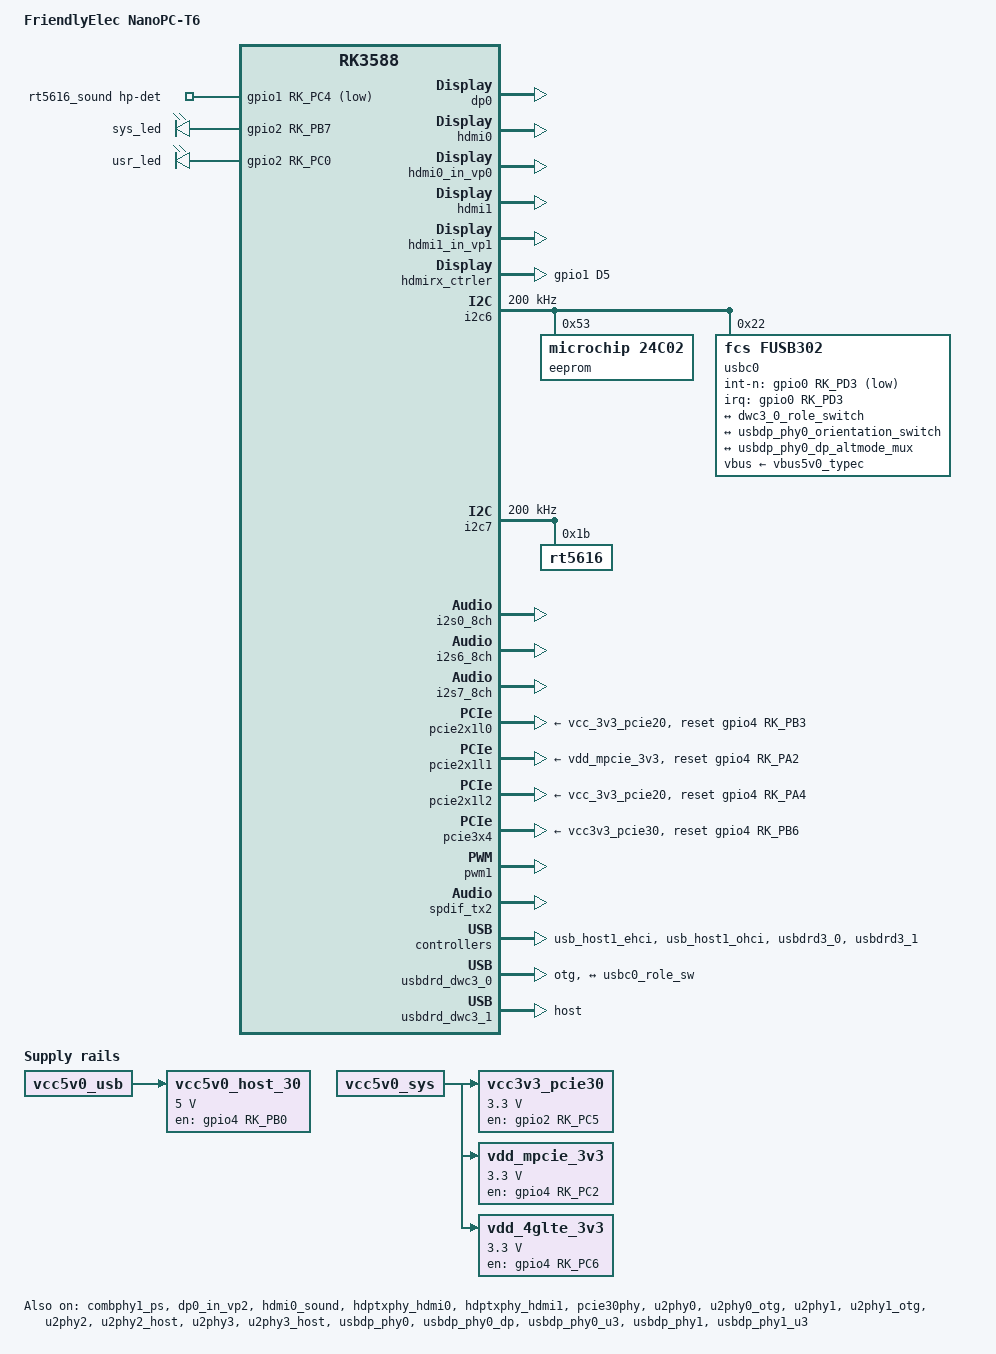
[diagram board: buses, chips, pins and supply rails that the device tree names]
// SPDX-License-Identifier: (GPL-2.0+ OR MIT)
/*
 * Copyright (c) 2022 FriendlyElec Computer Tech. Co., Ltd.
 * (http://www.friendlyelec.com)
 */

/dts-v1/;

#include "rk3588.dtsi"
#include "rk3588-nanopi6-common.dtsi"

/ {
	model = "FriendlyElec NanoPC-T6";
	compatible = "friendlyelec,nanopc-t6", "rockchip,rk3588";

	aliases {
		ethernet0 = &r8125_u10;
		ethernet1 = &r8125_u12;
		led-failsafe = &sys_led;
		led-running = &sys_led;
		led-upgrade = &sys_led;
	};

	/* If hdmirx node is disabled, delete the reserved-memory node here. */
	reserved-memory {
		#address-cells = <2>;
		#size-cells = <2>;
		ranges;

		/* Reserve 128MB memory for hdmirx-controller@fdee0000 */
		cma {
			compatible = "shared-dma-pool";
			reusable;
			reg = <0x0 (256 * 0x100000) 0x0 (128 * 0x100000)>;
			linux,cma-default;
		};
	};

	dp0_sound: dp0-sound {
		status = "okay";
		compatible = "rockchip,hdmi";
		rockchip,card-name= "rockchip,dp0";
		rockchip,mclk-fs = <512>;
		rockchip,cpu = <&spdif_tx2>;
		rockchip,codec = <&dp0 1>;
		rockchip,jack-det;
	};

	rt5616_sound: rt5616-sound {
		status = "okay";
		compatible = "simple-audio-card";
		pinctrl-names = "default";
		pinctrl-0 = <&hp_det>;

		simple-audio-card,name = "realtek,rt5616-codec";
		simple-audio-card,format = "i2s";
		simple-audio-card,mclk-fs = <256>;

		simple-audio-card,hp-det-gpio = <&gpio1 RK_PC4 GPIO_ACTIVE_LOW>;
		simple-audio-card,hp-pin-name = "Headphone Jack";

		simple-audio-card,widgets =
			"Headphone", "Headphone Jack",
			"Microphone", "Microphone Jack";
		simple-audio-card,routing =
			"Headphone Jack", "HPOL",
			"Headphone Jack", "HPOR",
			"MIC1", "Microphone Jack",
			"Microphone Jack", "micbias1";

		simple-audio-card,cpu {
			sound-dai = <&i2s0_8ch>;
		};
		simple-audio-card,codec {
			sound-dai = <&rt5616>;
		};
	};

	fan: pwm-fan {
		status = "disabled";
		compatible = "pwm-fan";
		#cooling-cells = <2>;
		pwms = <&pwm1 0 50000 0>;
		cooling-levels = <0 50 100 150 200 255>;
		rockchip,temp-trips = <
			50000	1
			55000	2
			60000	3
			65000	4
			70000	5
		>;
	};

	gpio_leds: gpio-leds {
		compatible = "gpio-leds";

		sys_led: led-0 {
			gpios = <&gpio2 RK_PB7 GPIO_ACTIVE_HIGH>;
			label = "sys_led";
			linux,default-trigger = "heartbeat";
			pinctrl-names = "default";
			pinctrl-0 = <&sys_led_pin>;
		};

		usr_led: led-1 {
			gpios = <&gpio2 RK_PC0 GPIO_ACTIVE_HIGH>;
			label = "usr_led";
			pinctrl-names = "default";
			pinctrl-0 = <&usr_led_pin>;
		};
	};

	hdmi1_sound: hdmi1-sound {
		status = "disabled";
		compatible = "simple-audio-card";
		simple-audio-card,format = "i2s";
		simple-audio-card,mclk-fs = <128>;
		simple-audio-card,name = "rockchip,hdmi1";

		simple-audio-card,cpu {
			sound-dai = <&i2s6_8ch>;
		};
		simple-audio-card,codec {
			sound-dai = <&hdmi1>;
		};
	};

	hdmiin_dc: hdmiin-dc {
		status = "disabled";
		compatible = "rockchip,dummy-codec";
		#sound-dai-cells = <0>;
	};

	hdmiin_sound: hdmiin-sound {
		status = "disabled";
		compatible = "simple-audio-card";
		simple-audio-card,format = "i2s";
		simple-audio-card,name = "rockchip,hdmiin";
		simple-audio-card,bitclock-master = <&dailink0_master>;
		simple-audio-card,frame-master = <&dailink0_master>;
		simple-audio-card,cpu {
			sound-dai = <&i2s7_8ch>;
		};
		dailink0_master: simple-audio-card,codec {
			sound-dai = <&hdmiin_dc>;
		};
	};

	vcc5v0_host_30: vcc5v0-host-30 {
		compatible = "regulator-fixed";
		enable-active-high;
		gpio = <&gpio4 RK_PB0 GPIO_ACTIVE_HIGH>;
		pinctrl-names = "default";
		pinctrl-0 = <&vcc5v0_host30_en>;
		regulator-name = "vcc5v0_host_30";
		regulator-min-microvolt = <5000000>;
		regulator-max-microvolt = <5000000>;
		vin-supply = <&vcc5v0_usb>;
	};

	vcc3v3_pcie30: vcc3v3-pcie30 {
		compatible = "regulator-fixed";
		enable-active-high;
		gpios = <&gpio2 RK_PC5 GPIO_ACTIVE_HIGH>;
		pinctrl-names = "default";
		pinctrl-0 = <&pcie_m2_0_pwren>;
		regulator-name = "vcc3v3_pcie30";
		regulator-min-microvolt = <3300000>;
		regulator-max-microvolt = <3300000>;
		vin-supply = <&vcc5v0_sys>;
	};

	vdd_mpcie_3v3: vdd-mpcie-3v3 {
		compatible = "regulator-fixed";
		enable-active-high;
		gpio = <&gpio4 RK_PC2 GPIO_ACTIVE_HIGH>;
		pinctrl-names = "default";
		pinctrl-0 = <&pcie_m2_1_pwren>;
		regulator-name = "vdd_mpcie_3v3";
		regulator-min-microvolt = <3300000>;
		regulator-max-microvolt = <3300000>;
		vin-supply = <&vcc5v0_sys>;
	};

	vdd_4glte_3v3: vdd-4glte-3v3 {
		compatible = "regulator-fixed";
		enable-active-high;
		gpio = <&gpio4 RK_PC6 GPIO_ACTIVE_HIGH>;
		regulator-always-on;
		regulator-boot-on;
		regulator-name = "vdd_4glte_3v3";
		regulator-min-microvolt = <3300000>;
		regulator-max-microvolt = <3300000>;
		startup-delay-us = <10000>;
		vin-supply = <&vcc5v0_sys>;
	};
};

&combphy1_ps {
	status = "okay";
};

&dp0 {
	status = "okay";
};

&dp0_in_vp0 {
	status = "disabled";
};

&dp0_in_vp1 {
	status = "disabled";
};

&dp0_in_vp2 {
	status = "okay";
};

&dp0_sound {
	status = "okay";
};

&gmac1 {
	status = "disabled";
};

&hdmi0 {
	enable-gpios = <&gpio4 RK_PB1 GPIO_ACTIVE_HIGH>;
	status = "okay";
};

&hdmi0_in_vp0 {
	status = "okay";
};

&hdmi0_in_vp1 {
	status = "disabled";
};

&hdmi0_in_vp2 {
	status = "disabled";
};

&hdmi0_sound {
	status = "okay";
};

&hdmi1 {
	enable-gpios = <&gpio4 RK_PB2 GPIO_ACTIVE_HIGH>;
	status = "okay";
};

&hdmi1_in_vp0 {
	status = "disabled";
};

&hdmi1_in_vp1 {
	status = "okay";
};

&hdmi1_in_vp2 {
	status = "disabled";
};

&hdmi1_sound {
	status = "okay";
};

&hdmiin_dc {
	status = "okay";
};

&hdmiin_sound {
	status = "okay";
};

/* Should work with at least 128MB cma reserved above. */
&hdmirx_ctrler {
	status = "okay";

	/* Effective level used to trigger HPD: 0-low, 1-high */
	hpd-trigger-level = <1>;
	hdmirx-det-gpios = <&gpio1 RK_PD5 GPIO_ACTIVE_LOW>;
	pinctrl-names = "default";
	pinctrl-0 = <&hdmim1_rx &hdmirx_det>;
};

&hdptxphy_hdmi0 {
	status = "okay";
};

&hdptxphy_hdmi1 {
	status = "okay";
};

&i2c3 {
	pinctrl-0 = <&i2c3m0_xfer>;
	/* connected with MIPI-CSI0 */
};

&i2c4 {
	pinctrl-0 = <&i2c4m3_xfer>;
	/* connected with MIPI-DSI1 */
};

&i2c5 {
	pinctrl-0 = <&i2c5m0_xfer>;
	/* connected with MIPI-DSI0 */
};

&i2c6 {
	clock-frequency = <200000>;
	status = "okay";

	eeprom@53 {
		compatible = "microchip,24c02", "atmel,24c02";
		reg = <0x53>;
		#address-cells = <2>;
		#size-cells = <0>;
		pagesize = <16>;
		size = <256>;

		eui_48: eui-48@fa {
			reg = <0xfa 0x06>;
		};
	};

	usbc0: fusb302@22 {
		compatible = "fcs,fusb302";
		reg = <0x22>;
		interrupt-parent = <&gpio0>;
		interrupts = <RK_PD3 IRQ_TYPE_LEVEL_LOW>;
		int-n-gpios = <&gpio0 RK_PD3 GPIO_ACTIVE_LOW>;
		pinctrl-names = "default";
		pinctrl-0 = <&usbc0_int>;
		vbus-supply = <&vbus5v0_typec>;
		status = "okay";

		ports {
			#address-cells = <1>;
			#size-cells = <0>;

			port@0 {
				reg = <0>;
				usbc0_role_sw: endpoint@0 {
					remote-endpoint = <&dwc3_0_role_switch>;
				};
			};
		};

		usb_con: connector {
			compatible = "usb-c-connector";
			label = "USB-C";
			data-role = "dual";
			power-role = "dual";
			try-power-role = "sink";
			op-sink-microwatt = <1000000>;
			sink-pdos =
				<PDO_FIXED(5000, 3000, PDO_FIXED_USB_COMM)>;
			source-pdos =
				<PDO_FIXED(5000, 2000, PDO_FIXED_USB_COMM)>;

			altmodes {
				#address-cells = <1>;
				#size-cells = <0>;

				altmode@0 {
					reg = <0>;
					svid = <0xff01>;
					vdo = <0xffffffff>;
				};
			};

			ports {
				#address-cells = <1>;
				#size-cells = <0>;

				port@0 {
					reg = <0>;
					usbc0_orien_sw: endpoint {
						remote-endpoint = <&usbdp_phy0_orientation_switch>;
					};
				};

				port@1 {
					reg = <1>;
					dp_altmode_mux: endpoint {
						remote-endpoint = <&usbdp_phy0_dp_altmode_mux>;
					};
				};
			};
		};
	};
};

&i2c7 {
	clock-frequency = <200000>;
	status = "okay";

	rt5616: rt5616@1b {
		status = "okay";
		#sound-dai-cells = <0>;
		compatible = "rt5616";
		reg = <0x1b>;
		clocks = <&cru I2S0_8CH_MCLKOUT>;
		clock-names = "mclk";
		assigned-clocks = <&cru I2S0_8CH_MCLKOUT>;
		assigned-clock-rates = <12288000>;
		pinctrl-names = "default";
		pinctrl-0 = <&i2s0_mclk>;
	};

	/* connected with MIPI-CSI1 */
};

&i2c8 {
	pinctrl-0 = <&i2c8m2_xfer>;
	/* connected with Header_2.54MM */
};

&i2s0_8ch {
	status = "okay";
	pinctrl-0 = <&i2s0_lrck
		     &i2s0_sclk
		     &i2s0_sdi0
		     &i2s0_sdo0>;
};

&i2s6_8ch {
	status = "okay";
};

&i2s7_8ch {
	status = "okay";
};

&mach {
	hwrev = <1>;
	model = "NanoPC-T6";
};

&mdio1 {
	status = "disabled";
};

&pcie2x1l0 {
	reset-gpios = <&gpio4 RK_PB3 GPIO_ACTIVE_HIGH>;
	rockchip,init-delay-ms = <100>;
	vpcie3v3-supply = <&vcc_3v3_pcie20>;
	status = "okay";

	pcie@20 {
		reg = <0x00200000 0 0 0 0>;
		#address-cells = <3>;
		#size-cells = <2>;

		r8125_u12: pcie@20,0 {
			reg = <0x000000 0 0 0 0>;
			local-mac-address = [ 00 00 00 00 00 00 ];
		};
	};
};

&pcie2x1l1 {
	reset-gpios = <&gpio4 RK_PA2 GPIO_ACTIVE_HIGH>;
	rockchip,init-delay-ms = <500>;
	vpcie3v3-supply = <&vdd_mpcie_3v3>;
	status = "okay";
};

&pcie2x1l2 {
	reset-gpios = <&gpio4 RK_PA4 GPIO_ACTIVE_HIGH>;
	vpcie3v3-supply = <&vcc_3v3_pcie20>;
	status = "okay";

	pcie@40 {
		reg = <0x00400000 0 0 0 0>;
		#address-cells = <3>;
		#size-cells = <2>;

		r8125_u10: pcie@40,0 {
			reg = <0x000000 0 0 0 0>;
			local-mac-address = [ 00 00 00 00 00 00 ];
		};
	};
};

&pcie30phy {
	status = "okay";
};

&pcie3x4 {
	reset-gpios = <&gpio4 RK_PB6 GPIO_ACTIVE_HIGH>;
	vpcie3v3-supply = <&vcc3v3_pcie30>;
	status = "okay";
};

&pinctrl {
	gpio-leds {
		sys_led_pin: sys-led-pin {
			rockchip,pins = <2 RK_PB7 RK_FUNC_GPIO &pcfg_pull_none>;
		};

		usr_led_pin: usr-led-pin {
			rockchip,pins = <2 RK_PC0 RK_FUNC_GPIO &pcfg_pull_none>;
		};
	};

	headphone {
		hp_det: hp-det {
			rockchip,pins = <1 RK_PC4 RK_FUNC_GPIO &pcfg_pull_none>;
		};
	};

	hdmi {
		hdmirx_det: hdmirx-det {
			rockchip,pins = <1 RK_PD5 RK_FUNC_GPIO &pcfg_pull_up>;
		};
	};

	lcd {
		/omit-if-no-ref/
		lcd_rst0_gpio: lcd-rst0-gpio {
			rockchip,pins = <3 RK_PA6 RK_FUNC_GPIO &pcfg_pull_none>;
		};

		/omit-if-no-ref/
		lcd_rst1_gpio: lcd-rst1-gpio {
			rockchip,pins = <4 RK_PA3 RK_FUNC_GPIO &pcfg_pull_none>;
		};

		/omit-if-no-ref/
		touch_dsi0_gpio: touch-dsi0-gpio {
			rockchip,pins =
				<3 RK_PC0 RK_FUNC_GPIO &pcfg_pull_up>,
				<3 RK_PC1 RK_FUNC_GPIO &pcfg_pull_none>;
		};

		/omit-if-no-ref/
		touch_dsi1_gpio: touch-dsi1-gpio {
			rockchip,pins =
				<4 RK_PA0 RK_FUNC_GPIO &pcfg_pull_up>,
				<4 RK_PA1 RK_FUNC_GPIO &pcfg_pull_none>;
		};
	};

	pcie {
		pcie_m2_0_pwren: pcie-m20-pwren {
			rockchip,pins = <2 RK_PC5 RK_FUNC_GPIO &pcfg_pull_none>;
		};

		pcie_m2_1_pwren: pcie-m21-pwren {
			rockchip,pins = <4 RK_PC2 RK_FUNC_GPIO &pcfg_pull_none>;
		};
	};

	sdmmc {
		sd_s0_pwr: sd-s0-pwr {
			rockchip,pins = <4 RK_PA5 RK_FUNC_GPIO &pcfg_pull_down>;
		};
	};

	usb {
		vcc5v0_host30_en: vcc5v0-host30-en {
			rockchip,pins = <4 RK_PB0 RK_FUNC_GPIO &pcfg_pull_none>;
		};
	};
};

&pwm1 {
	pinctrl-0 = <&pwm1m1_pins>;
	status = "okay";
};

&pwm2 {
	pinctrl-0 = <&pwm2m1_pins>;
	/* connected with MIPI-DSI0 */
};

&pwm11 {
	pinctrl-0 = <&pwm11m3_pins>;
	/* connected with MIPI-DSI1 */
};

&spdif_tx2 {
	status = "okay";
};

&u2phy0 {
	status = "okay";
};

&u2phy0_otg {
	rockchip,typec-vbus-det;
	status = "okay";
};

&u2phy1 {
	status = "okay";
};

&u2phy1_otg {
	phy-supply = <&vcc5v0_host_30>;
	status = "okay";
};

&u2phy2 {
	status = "okay";
};

&u2phy2_host {
	status = "okay";
};

&u2phy3 {
	status = "okay";
};

&u2phy3_host {
	status = "okay";
};

&usb_host1_ehci {
	status = "okay";
};

&usb_host1_ohci {
	status = "okay";
};

&usbdp_phy0 {
	orientation-switch;
	rockchip,dp-lane-mux = <0 1 2 3 >;
	svid = <0xff01>;
	sbu1-dc-gpios = <&gpio4 RK_PA6 GPIO_ACTIVE_HIGH>;
	sbu2-dc-gpios = <&gpio4 RK_PA7 GPIO_ACTIVE_HIGH>;
	status = "okay";

	port {
		#address-cells = <1>;
		#size-cells = <0>;
		usbdp_phy0_orientation_switch: endpoint@0 {
			reg = <0>;
			remote-endpoint = <&usbc0_orien_sw>;
		};

		usbdp_phy0_dp_altmode_mux: endpoint@1 {
			reg = <1>;
			remote-endpoint = <&dp_altmode_mux>;
		};
	};
};

&usbdp_phy0_dp {
	status = "okay";
};

&usbdp_phy0_u3 {
	status = "okay";
};

&usbdrd3_0 {
	status = "okay";
};

&usbdrd_dwc3_0 {
	dr_mode = "otg";
	usb-role-switch;
	status = "okay";

	port {
		#address-cells = <1>;
		#size-cells = <0>;
		dwc3_0_role_switch: endpoint@0 {
			reg = <0>;
			remote-endpoint = <&usbc0_role_sw>;
		};
	};
};

&usbdp_phy1 {
	status = "okay";
};

&usbdp_phy1_u3 {
	status = "okay";
};

&usbdrd3_1 {
	status = "okay";
};

&usbdrd_dwc3_1 {
	dr_mode = "host";
	snps,xhci-trb-ent-quirk;
	status = "okay";
};

&vcc_3v3_sd_s0 {
	/delete-property/ enable-active-high;
	gpio = <&gpio4 RK_PA5 GPIO_ACTIVE_LOW>;
};

&vp0 {
	cursor-win-id = <ROCKCHIP_VOP2_CLUSTER0>;
};

&vp3 {
	/delete-property/ rockchip,plane-mask;
	/delete-property/ rockchip,primary-plane;
	status = "disabled";
};
